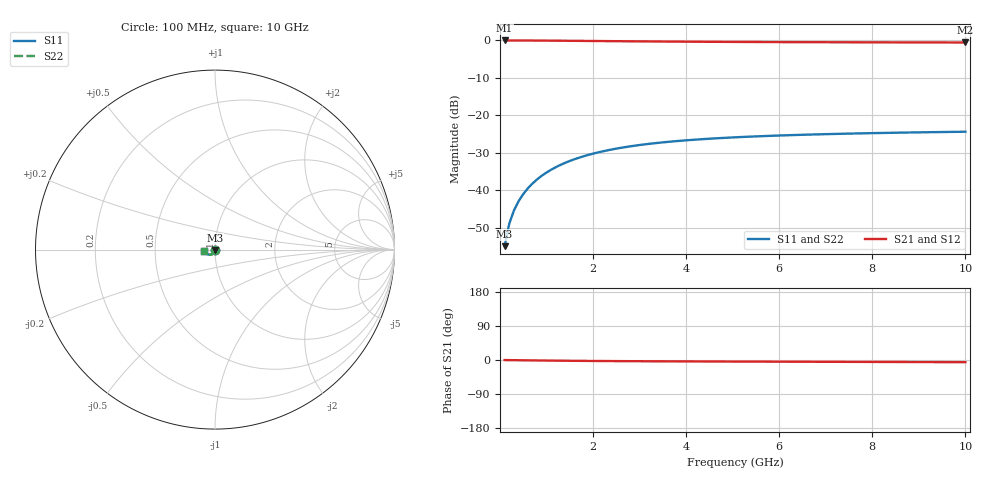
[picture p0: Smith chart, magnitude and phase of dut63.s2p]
! Touchstone file exported from HFSS 2024.1.0
!  File:  C:/UserFiles/LocalFiles/RDL_TSV_Batchsim/temp_TSV1_63_1778749459.aedt
!  Generated:  05:09:38 PM May 14, 2026
!  Design:  TSV1
!  Project:  temp_TSV1_63_1778749459
!  Setup:  Setup1
!  Solution:  Sweep
! Variables:
!  dtsv = 13.01um
!  hbump = 3um
!  htsv = 89.81um
!  lrdl = 252.1521522um
!  p = 40
!  p1 = 53.44um
!  t = 500um
!  trdl = 3um
!  wrdl = 24.89489489um
# GHz S MA R 50.000000
! Terminal data exported
! Port[1] = TSV22_T1
! Port[2] = TSV22_T2
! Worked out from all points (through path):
!   100 points, 100 MHz to 10 GHz, reference 50 ohm
!   highest |S21| = 0.00 dB at 100 MHz (marker M1); lowest = -0.5 dB at 10 GHz (marker M2)
!   lowest |S11| = -55.0 dB at 100 MHz (marker M3), VSWR 1.00, Z = 50 - j0.178 ohm
!   |S11| at or under -10 dB: start of sweep to end of sweep
!   |S22| runs from -55.0 to -24.4 dB; largest |S21 - S12| = 4.3e-15
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0.1  0.001781 -88.7  0.9998 -0.2  0.9998 -0.2  0.001781 -88.7
! Gamma 0 0 0 0
! Port Impedance 50 0 50 0
0.2  0.003559 -91.9  0.9997 -0.3  0.9997 -0.3  0.003559 -91.9
0.3  0.005334 -94.2  0.9994 -0.5  0.9994 -0.5  0.005334 -94.2
0.4  0.0071 -96.2  0.9989 -0.6  0.9989 -0.6  0.0071 -96.2
0.5  0.008849 -98.2  0.9984 -0.8  0.9984 -0.8  0.008849 -98.2
0.6  0.01058 -100.1  0.9978 -0.9  0.9978 -0.9  0.01058 -100.1
0.7  0.01228 -101.9  0.9972 -1.1  0.9972 -1.1  0.01228 -101.9
0.8  0.01394 -103.8  0.9964 -1.2  0.9964 -1.2  0.01394 -103.8
0.9  0.01558 -105.5  0.9955 -1.3  0.9955 -1.3  0.01558 -105.5
1.1  0.01873 -109.0  0.9937 -1.6  0.9937 -1.6  0.01873 -109.0
1.4  0.02313 -113.9  0.9905 -1.9  0.9905 -1.9  0.02313 -113.9
1.6  0.02584 -117.0  0.9882 -2.2  0.9882 -2.2  0.02584 -117.0
1.8  0.02837 -119.9  0.9858 -2.4  0.9858 -2.4  0.02837 -119.9
2.1  0.03182 -124.0  0.9823 -2.6  0.9823 -2.6  0.03182 -124.0
2.5  0.03584 -129.0  0.9776 -2.9  0.9776 -2.9  0.03584 -129.0
2.9  0.03926 -133.4  0.9732 -3.2  0.9732 -3.2  0.03926 -133.4
3.4  0.04282 -138.4  0.9683 -3.4  0.9683 -3.4  0.04282 -138.4
4.2  0.04725 -145.1  0.9616 -3.8  0.9616 -3.8  0.04725 -145.1
5.1  0.05092 -151.2  0.9556 -4.1  0.9556 -4.1  0.05092 -151.2
6.7  0.05532 -159.8  0.9481 -4.7  0.9481 -4.7  0.05532 -159.8
8.4  0.05831 -166.8  0.9429 -5.2  0.9429 -5.2  0.05831 -166.8
10  0.06028 -172.2  0.9395 -5.8  0.9395 -5.8  0.06028 -172.2
